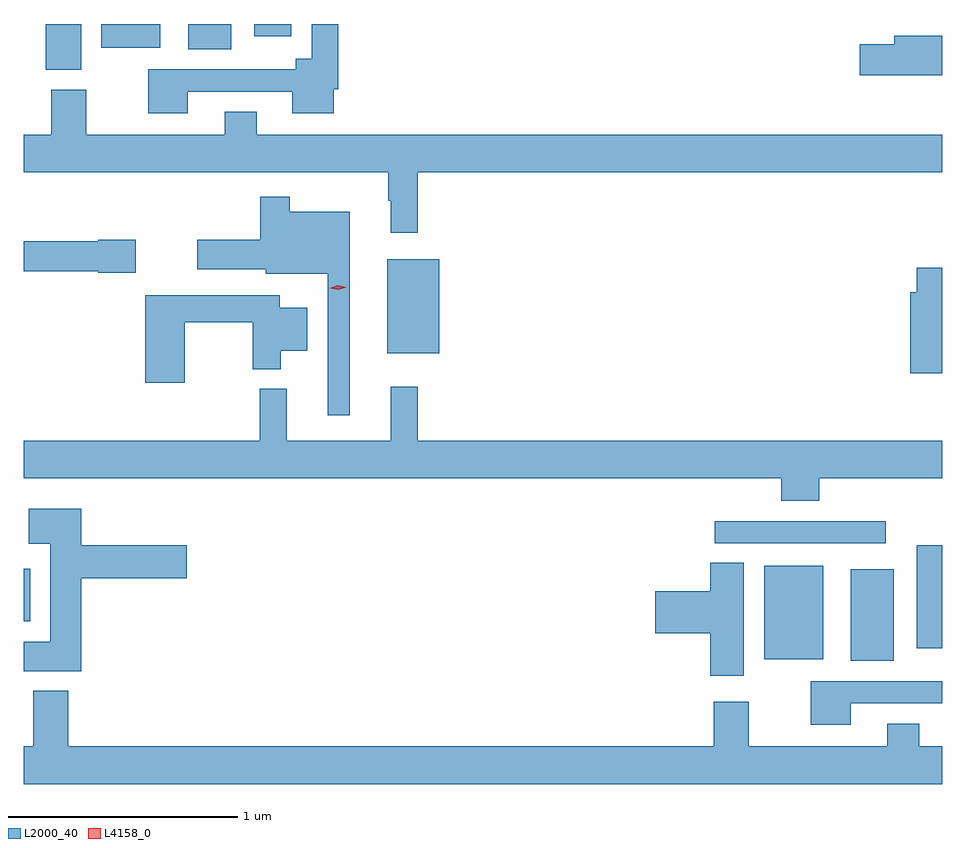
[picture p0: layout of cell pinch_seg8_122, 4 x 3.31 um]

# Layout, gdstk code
import gdstk
lib = gdstk.Library(unit=1e-6, precision=1e-09)
def R(c, l, rs):  # rectangles x0, y0, x1, y1
    for r in rs: c.add(gdstk.rectangle(r[:2], r[2:], *l))
def P(c, l, *ps):  # polygons
    for p in ps: c.add(gdstk.Polygon(p, *l))
L2000_40 = (2000, 40)
L4158_0 = (4158, 0)

pinch_seg8_122 = lib.new_cell('pinch_seg8_122')
R(pinch_seg8_122, L2000_40, [(1035.314,1101.053,1035.502,1101.451), (1034.936,1101.059,1035.193,1101.466), (1035.602,1101.108,1035.712,1101.556), (1031.712,1101.224,1031.74,1101.454), (1034.721,1101.564,1035.466,1101.66), (1033.295,1102.391,1033.522,1102.801), (1031.807,1103.627,1031.962,1103.826), (1032.428,1103.717,1032.616,1103.826), (1032.05,1103.723,1032.307,1103.826), (1032.716,1103.772,1032.877,1103.826)])
P(pinch_seg8_122, L2000_40, [(1032.427,1103.532),(1032.881,1103.532),(1032.881,1103.438),(1033.063,1103.438),(1033.063,1103.542),(1033.082,1103.542),(1033.082,1103.826),(1032.966,1103.826),(1032.966,1103.674),(1032.896,1103.674),(1032.896,1103.628),(1032.254,1103.628),(1032.254,1103.438),(1032.427,1103.438)],
  [(1035.712,1103.774),(1035.503,1103.774),(1035.503,1103.738),(1035.353,1103.738),(1035.353,1103.603),(1035.712,1103.603)],
  [(1033.427,1103.18),(1035.712,1103.18),(1035.712,1103.344),(1032.727,1103.344),(1032.727,1103.443),(1032.587,1103.443),(1032.587,1103.344),(1031.983,1103.344),(1031.983,1103.539),(1031.831,1103.539),(1031.831,1103.344),(1031.712,1103.344),(1031.712,1103.18),(1033.299,1103.18),(1033.299,1103.057),(1033.31,1103.057),(1033.31,1102.917),(1033.427,1102.917)],
  [(1033.132,1103.008),(1032.871,1103.008),(1032.871,1103.074),(1032.742,1103.074),(1032.742,1102.887),(1032.468,1102.887),(1032.468,1102.757),(1032.765,1102.757),(1032.765,1102.739),(1033.035,1102.739),(1033.035,1102.122),(1033.132,1102.122)],
  [(1032.199,1102.887),(1032.036,1102.887),(1032.036,1102.879),(1031.712,1102.879),(1031.712,1102.75),(1032.036,1102.75),(1032.036,1102.742),(1032.199,1102.742)],
  [(1035.712,1102.764),(1035.602,1102.764),(1035.602,1102.657),(1035.572,1102.657),(1035.572,1102.305),(1035.712,1102.305)],
  [(1032.412,1102.528),(1032.71,1102.528),(1032.71,1102.322),(1032.832,1102.322),(1032.832,1102.403),(1032.946,1102.403),(1032.946,1102.591),(1032.826,1102.591),(1032.826,1102.644),(1032.242,1102.644),(1032.242,1102.263),(1032.412,1102.263)],
  [(1035.176,1101.848),(1035.712,1101.848),(1035.712,1102.012),(1033.427,1102.012),(1033.427,1102.246),(1033.31,1102.246),(1033.31,1102.012),(1032.857,1102.012),(1032.857,1102.237),(1032.739,1102.237),(1032.739,1102.012),(1031.712,1102.012),(1031.712,1101.848),(1035.011,1101.848),(1035.011,1101.749),(1035.176,1101.749)],
  [(1031.963,1101.413),(1032.421,1101.413),(1032.421,1101.555),(1031.963,1101.555),(1031.963,1101.715),(1031.733,1101.715),(1031.733,1101.563),(1031.828,1101.563),(1031.828,1101.136),(1031.712,1101.136),(1031.712,1101.008),(1031.963,1101.008)],
  [(1034.848,1101.479),(1034.702,1101.479),(1034.702,1101.356),(1034.463,1101.356),(1034.463,1101.173),(1034.702,1101.173),(1034.702,1100.988),(1034.848,1100.988)],
  [(1035.313,1100.868),(1035.712,1100.868),(1035.712,1100.964),(1035.14,1100.964),(1035.14,1100.774),(1035.313,1100.774)],
  [(1035.712,1100.68),(1035.613,1100.68),(1035.613,1100.779),(1035.473,1100.779),(1035.473,1100.68),(1034.869,1100.68),(1034.869,1100.875),(1034.717,1100.875),(1034.717,1100.68),(1031.906,1100.68),(1031.906,1100.923),(1031.753,1100.923),(1031.753,1100.68),(1031.712,1100.68),(1031.712,1100.516),(1035.712,1100.516)])
P(pinch_seg8_122, L4158_0, [(1033.081,1102.668),(1033.045,1102.676),(1033.045,1102.676),(1033.045,1102.676),(1033.08,1102.688),(1033.116,1102.68),(1033.116,1102.679),(1033.116,1102.679)])

lib.write_gds('pinch_seg8_122.gds')
